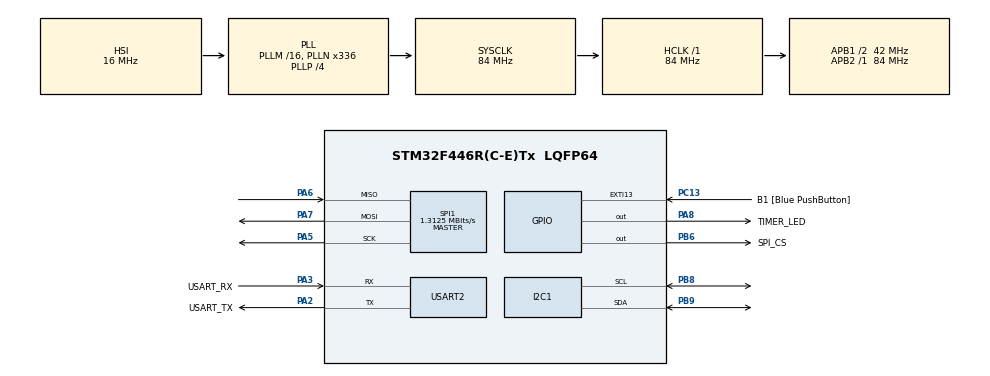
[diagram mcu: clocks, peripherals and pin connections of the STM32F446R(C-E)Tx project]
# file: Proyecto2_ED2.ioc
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Mcu.Family=STM32F4
Mcu.Name=STM32F446R(C-E)Tx
Mcu.Package=LQFP64
NVIC.PriorityGroup=NVIC_PRIORITYGROUP_0
NVIC.TIM3_IRQn=true\:0\:0\:false\:false\:true\:true\:true\:true
NVIC.USART2_IRQn=true\:0\:0\:false\:false\:true\:true\:true\:true
PA13.GPIO_Label=TMS
PA13.Signal=SYS_JTMS-SWDIO
PA14.GPIO_Label=TCK
PA14.Signal=SYS_JTCK-SWCLK
PA2.GPIO_Label=USART_TX
PA2.Mode=Asynchronous
PA2.Signal=USART2_TX
PA3.GPIO_Label=USART_RX
PA3.Mode=Asynchronous
PA3.Signal=USART2_RX
PA5.Mode=Full_Duplex_Master
PA5.Signal=SPI1_SCK
PA6.Mode=Full_Duplex_Master
PA6.Signal=SPI1_MISO
PA7.Mode=Full_Duplex_Master
PA7.Signal=SPI1_MOSI
PA8.GPIO_Label=TIMER_LED
PA8.Signal=GPIO_Output
PB3.GPIO_Label=SWO
PB3.Signal=SYS_JTDO-SWO
PB6.GPIO_Label=SPI_CS
PB6.PinState=GPIO_PIN_SET
PB6.Signal=GPIO_Output
PB8.GPIO_Pu=GPIO_PULLUP
PB8.Mode=I2C
PB8.Signal=I2C1_SCL
PB9.GPIO_Pu=GPIO_PULLUP
PB9.Mode=I2C
PB9.Signal=I2C1_SDA
PC13.GPIO_Label=B1 [Blue PushButton]
PC13.GPIO_ModeDefaultEXTI=GPIO_MODE_IT_FALLING
PC13.Signal=GPXTI13
PC14-OSC32_IN.Signal=RCC_OSC32_IN
PC15-OSC32_OUT.Signal=RCC_OSC32_OUT
PH0-OSC_IN.Signal=RCC_OSC_IN
PH1-OSC_OUT.Signal=RCC_OSC_OUT
ProjectManager.HeapSize=0x200
ProjectManager.StackSize=0x400
ProjectManager.TargetToolchain=STM32CubeIDE
RCC.AHBFreq_Value=84000000
RCC.APB1CLKDivider=RCC_HCLK_DIV2
RCC.APB1Freq_Value=42000000
RCC.APB1TimFreq_Value=84000000
RCC.APB2Freq_Value=84000000
RCC.APB2TimFreq_Value=84000000
RCC.CortexFreq_Value=84000000
RCC.FLatency-AdvancedSettings=FLASH_LATENCY_2
RCC.HCLKFreq_Value=84000000
RCC.HSE_VALUE=8000000
RCC.HSI_VALUE=16000000
RCC.LSE_VALUE=32768
RCC.PLLN=336
RCC.PLLP=RCC_PLLP_DIV4
RCC.SYSCLKFreq_VALUE=84000000
RCC.SYSCLKSource=RCC_SYSCLKSOURCE_PLLCLK
RCC.USBFreq_Value=168000000
RCC.VCOOutputFreq_Value=336000000
SPI1.BaudRatePrescaler=SPI_BAUDRATEPRESCALER_64
SPI1.CalculateBaudRate=1.3125 MBits/s
SPI1.Direction=SPI_DIRECTION_2LINES
SPI1.Mode=SPI_MODE_MASTER
SPI1.VirtualType=VM_MASTER
TIM3.Period=4999
TIM3.Prescaler=8399
USART2.VirtualMode=VM_ASYNC
VP_TIM3_VS_ClockSourceINT.Mode=Internal
board=NUCLEO-F446RE

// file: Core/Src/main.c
/* USER CODE BEGIN Header */
/**
  ******************************************************************************
  * @file           : main.c
  * @brief          : Main program body
  ******************************************************************************
  * @attention
  *
  * Copyright (c) 2026 STMicroelectronics.
  * All rights reserved.
  *
  * This software is licensed under terms that can be found in the LICENSE file
  * in the root directory of this software component.
  * If no LICENSE file comes with this software, it is provided AS-IS.
  *
  ******************************************************************************
  */
/* USER CODE END Header */
#include "main.h"

/* USER CODE BEGIN Includes */
#include <stdio.h>   // Permite utilizar sscanf y snprintf
#include <string.h>  // Permite trabajar con cadenas de texto
/* USER CODE END Includes */

I2C_HandleTypeDef hi2c1;

SPI_HandleTypeDef hspi1;

TIM_HandleTypeDef htim3;

UART_HandleTypeDef huart2;

/* USER CODE BEGIN PV */

// Guarda la opcion seleccionada por el usuario
uint8_t opcionUART;

// Guarda los caracteres recibidos del comando SPI
// Arreglo para guardar hasta 19 caracteres del comando SPI y el ultimo
char comandoSPI[20];

// Guarda el numero del LED seleccionado
int ledSPI;

// Guarda el tiempo de encendido en milisegundos
int tiempoSPI;

// Variable para guardar el valor recibido del ESP32
uint8_t valorPotI2C = 0;

// Direccion del ESP32 en el bus I2C
#define ESP32_I2C_ADDR (0x08 << 1)

// Tiempo que debe permanecer la señal en cada estado
volatile uint32_t tiempoTimer = 500;

// Cuenta los milisegundos transcurridos
volatile uint32_t contadorTimer = 0;

// Indica si la señal cuadrada esta activa
volatile uint8_t timerActivo = 0;

/* USER CODE END PV */

void SystemClock_Config(void);
static void MX_GPIO_Init(void);
static void MX_USART2_UART_Init(void);
static void MX_SPI1_Init(void);
static void MX_I2C1_Init(void);
static void MX_TIM3_Init(void);
/* USER CODE BEGIN PFP */

//DECLARACION DE FUNCIONES

// Funcion para mostrar el menu principal
void mostrarMenu(void);

// Funcion para mostrar el submenu de control SPI
void mostrarMenuSPI(void);

// Funcion para recibir un comando completo por UART
void recibirComandoSPI(void);

// Funcion para enviar el LED y el tiempo al ESP32 por SPI
void enviarComandoSPI(void);

// Funcion para solicitar el valor del potenciometro por I2C
void recibirDatoI2C(void);

// Actualizar el tiempo de la señal cuadrada
void actualizarTimer(uint16_t tiempo);

/* USER CODE END PFP */

int main(void)
{

  /* MCU Configuration--------------------------------------------------------*/

  /* Reset of all peripherals, Initializes the Flash interface and the Systick. */
  HAL_Init();

  /* Configure the system clock */
  SystemClock_Config();

  /* Initialize all configured peripherals */
  MX_GPIO_Init();
  MX_USART2_UART_Init();
  MX_SPI1_Init();
  MX_I2C1_Init();
  MX_TIM3_Init();
  /* USER CODE BEGIN 2 */

  // Mostrar menu al iniciar
  mostrarMenu();

  /* USER CODE END 2 */

  /* Infinite loop */
  /* USER CODE BEGIN WHILE */
  while (1)
  {
      // Recibir un caracter por UART
      HAL_UART_Receive(&huart2,
                       &opcionUART,
                       1,
                       HAL_MAX_DELAY);

      // Ignorar los saltos de linea enviados por el monitor serial
      // para evitar que se interpreten como opciones incorrectas.
      if (opcionUART == '\r' || opcionUART == '\n')
      {
          continue;
      }

      //********************************************/
      // OPCION 1: CONTROL SPI
      //********************************************/

      if (opcionUART == '1')
      {
          // Confirmar la opcion seleccionada
          char mensaje[] = "\r\nOpcion 1 seleccionada: SPI\r\n";

          HAL_UART_Transmit(&huart2,
                            (uint8_t *)mensaje,
                            sizeof(mensaje) - 1,
                            HAL_MAX_DELAY);

          // Mostrar las instrucciones del control SPI
          mostrarMenuSPI();

          // Esperar el comando LED,TIEMPO enviado por el usuario
          recibirComandoSPI();
      }

      else if (opcionUART == '2')
      {
          char mensaje[] = "\r\nOpcion 2 seleccionada: I2C\r\n";

          HAL_UART_Transmit(&huart2,
                            (uint8_t *)mensaje,
                            sizeof(mensaje) - 1,
                            HAL_MAX_DELAY);
          // Solicitar la lectura del potenciometro al ESP32
              recibirDatoI2C();
      }
      else
      {
          char mensaje[] = "\r\nOpcion no valida.\r\n";

          HAL_UART_Transmit(&huart2,
                            (uint8_t *)mensaje,
                            sizeof(mensaje) - 1,
                            HAL_MAX_DELAY);
      }

      // Separar la respuesta del siguiente menu
      char espacio[] = "\r\n\r\n\r\n";

      HAL_UART_Transmit(&huart2,
                        (uint8_t *)espacio,
                        sizeof(espacio) - 1,
                        HAL_MAX_DELAY);

      // Volver a mostrar el menu principal
      mostrarMenu();

    /* USER CODE END WHILE */

  }
}

void SystemClock_Config(void)
{
  RCC_OscInitTypeDef RCC_OscInitStruct = {0};
  RCC_ClkInitTypeDef RCC_ClkInitStruct = {0};

  /** Configure the main internal regulator output voltage
  */
  __HAL_RCC_PWR_CLK_ENABLE();
  __HAL_PWR_VOLTAGESCALING_CONFIG(PWR_REGULATOR_VOLTAGE_SCALE3);

  /** Initializes the RCC Oscillators according to the specified parameters
  * in the RCC_OscInitTypeDef structure.
  */
  RCC_OscInitStruct.OscillatorType = RCC_OSCILLATORTYPE_HSI;
  RCC_OscInitStruct.HSIState = RCC_HSI_ON;
  RCC_OscInitStruct.HSICalibrationValue = RCC_HSICALIBRATION_DEFAULT;
  RCC_OscInitStruct.PLL.PLLState = RCC_PLL_ON;
  RCC_OscInitStruct.PLL.PLLSource = RCC_PLLSOURCE_HSI;
  RCC_OscInitStruct.PLL.PLLM = 16;
  RCC_OscInitStruct.PLL.PLLN = 336;
  RCC_OscInitStruct.PLL.PLLP = RCC_PLLP_DIV4;
  RCC_OscInitStruct.PLL.PLLQ = 2;
  RCC_OscInitStruct.PLL.PLLR = 2;
  if (HAL_RCC_OscConfig(&RCC_OscInitStruct) != HAL_OK)
  {
    Error_Handler();
  }

  /** Initializes the CPU, AHB and APB buses clocks
  */
  RCC_ClkInitStruct.ClockType = RCC_CLOCKTYPE_HCLK|RCC_CLOCKTYPE_SYSCLK
                              |RCC_CLOCKTYPE_PCLK1|RCC_CLOCKTYPE_PCLK2;
  RCC_ClkInitStruct.SYSCLKSource = RCC_SYSCLKSOURCE_PLLCLK;
  RCC_ClkInitStruct.AHBCLKDivider = RCC_SYSCLK_DIV1;
  RCC_ClkInitStruct.APB1CLKDivider = RCC_HCLK_DIV2;
  RCC_ClkInitStruct.APB2CLKDivider = RCC_HCLK_DIV1;

  if (HAL_RCC_ClockConfig(&RCC_ClkInitStruct, FLASH_LATENCY_2) != HAL_OK)
  {
    Error_Handler();
  }
}

static void MX_I2C1_Init(void)
{

  hi2c1.Instance = I2C1;
  hi2c1.Init.ClockSpeed = 100000;
  hi2c1.Init.DutyCycle = I2C_DUTYCYCLE_2;
  hi2c1.Init.OwnAddress1 = 0;
  hi2c1.Init.AddressingMode = I2C_ADDRESSINGMODE_7BIT;
  hi2c1.Init.DualAddressMode = I2C_DUALADDRESS_DISABLE;
  hi2c1.Init.OwnAddress2 = 0;
  hi2c1.Init.GeneralCallMode = I2C_GENERALCALL_DISABLE;
  hi2c1.Init.NoStretchMode = I2C_NOSTRETCH_DISABLE;
  if (HAL_I2C_Init(&hi2c1) != HAL_OK)
  {
    Error_Handler();
  }

}

static void MX_SPI1_Init(void)
{

  /* SPI1 parameter configuration*/
  hspi1.Instance = SPI1;
  hspi1.Init.Mode = SPI_MODE_MASTER;
  hspi1.Init.Direction = SPI_DIRECTION_2LINES;
  hspi1.Init.DataSize = SPI_DATASIZE_8BIT;
  hspi1.Init.CLKPolarity = SPI_POLARITY_LOW;
  hspi1.Init.CLKPhase = SPI_PHASE_1EDGE;
  hspi1.Init.NSS = SPI_NSS_SOFT;
  hspi1.Init.BaudRatePrescaler = SPI_BAUDRATEPRESCALER_64;
  hspi1.Init.FirstBit = SPI_FIRSTBIT_MSB;
  hspi1.Init.TIMode = SPI_TIMODE_DISABLE;
  hspi1.Init.CRCCalculation = SPI_CRCCALCULATION_DISABLE;
  hspi1.Init.CRCPolynomial = 10;
  if (HAL_SPI_Init(&hspi1) != HAL_OK)
  {
    Error_Handler();
  }

}

static void MX_TIM3_Init(void)
{

  TIM_ClockConfigTypeDef sClockSourceConfig = {0};
  TIM_MasterConfigTypeDef sMasterConfig = {0};

  htim3.Instance = TIM3;
  htim3.Init.Prescaler = 8399;
  htim3.Init.CounterMode = TIM_COUNTERMODE_UP;
  htim3.Init.Period = 9;
  htim3.Init.ClockDivision = TIM_CLOCKDIVISION_DIV1;
  htim3.Init.AutoReloadPreload = TIM_AUTORELOAD_PRELOAD_DISABLE;
  if (HAL_TIM_Base_Init(&htim3) != HAL_OK)
  {
    Error_Handler();
  }
  sClockSourceConfig.ClockSource = TIM_CLOCKSOURCE_INTERNAL;
  if (HAL_TIM_ConfigClockSource(&htim3, &sClockSourceConfig) != HAL_OK)
  {
    Error_Handler();
  }
  sMasterConfig.MasterOutputTrigger = TIM_TRGO_RESET;
  sMasterConfig.MasterSlaveMode = TIM_MASTERSLAVEMODE_DISABLE;
  if (HAL_TIMEx_MasterConfigSynchronization(&htim3, &sMasterConfig) != HAL_OK)
  {
    Error_Handler();
  }

}

static void MX_USART2_UART_Init(void)
{

  huart2.Instance = USART2;
  huart2.Init.BaudRate = 115200;
  huart2.Init.WordLength = UART_WORDLENGTH_8B;
  huart2.Init.StopBits = UART_STOPBITS_1;
  huart2.Init.Parity = UART_PARITY_NONE;
  huart2.Init.Mode = UART_MODE_TX_RX;
  huart2.Init.HwFlowCtl = UART_HWCONTROL_NONE;
  huart2.Init.OverSampling = UART_OVERSAMPLING_16;
  if (HAL_UART_Init(&huart2) != HAL_OK)
  {
    Error_Handler();
  }

}

static void MX_GPIO_Init(void)
{
  GPIO_InitTypeDef GPIO_InitStruct = {0};

  /* GPIO Ports Clock Enable */
  __HAL_RCC_GPIOC_CLK_ENABLE();
  __HAL_RCC_GPIOH_CLK_ENABLE();
  __HAL_RCC_GPIOA_CLK_ENABLE();
  __HAL_RCC_GPIOB_CLK_ENABLE();

  /*Configure GPIO pin Output Level */
  HAL_GPIO_WritePin(TIMER_LED_GPIO_Port, TIMER_LED_Pin, GPIO_PIN_RESET);

  /*Configure GPIO pin Output Level */
  HAL_GPIO_WritePin(SPI_CS_GPIO_Port, SPI_CS_Pin, GPIO_PIN_SET);

  /*Configure GPIO pin : B1_Pin */
  GPIO_InitStruct.Pin = B1_Pin;
  GPIO_InitStruct.Mode = GPIO_MODE_IT_FALLING;
  GPIO_InitStruct.Pull = GPIO_NOPULL;
  HAL_GPIO_Init(B1_GPIO_Port, &GPIO_InitStruct);

  /*Configure GPIO pin : TIMER_LED_Pin */
  GPIO_InitStruct.Pin = TIMER_LED_Pin;
  GPIO_InitStruct.Mode = GPIO_MODE_OUTPUT_PP;
  GPIO_InitStruct.Pull = GPIO_NOPULL;
  GPIO_InitStruct.Speed = GPIO_SPEED_FREQ_LOW;
  HAL_GPIO_Init(TIMER_LED_GPIO_Port, &GPIO_InitStruct);

  /*Configure GPIO pin : SPI_CS_Pin */
  GPIO_InitStruct.Pin = SPI_CS_Pin;
  GPIO_InitStruct.Mode = GPIO_MODE_OUTPUT_PP;
  GPIO_InitStruct.Pull = GPIO_NOPULL;
  GPIO_InitStruct.Speed = GPIO_SPEED_FREQ_LOW;
  HAL_GPIO_Init(SPI_CS_GPIO_Port, &GPIO_InitStruct);

}

/* USER CODE BEGIN 4 */

// Mostrar menu principal por UART
void mostrarMenu(void)
{
    char mensaje[] =
        "\r\n"
        "==============================\r\n"
        "       MENU PRINCIPAL\r\n"
        "==============================\r\n"
        "1. Controlar dispositivo SPI\r\n"
        "2. Obtener medicion de sensor I2C\r\n"
        "\r\n"
        "Seleccione una opcion: ";

    HAL_UART_Transmit(&huart2,
                      (uint8_t *)mensaje,
                      sizeof(mensaje) - 1,
                      HAL_MAX_DELAY);
}

// Mostrar submenu SPI
void mostrarMenuSPI(void)
{
    // Mensaje que se mostrara en el monitor serial
    char mensaje[] =
        "\r\n"
        "==============================\r\n"
        "         CONTROL SPI\r\n"
        "==============================\r\n"
        "Ingrese el LED y tiempo en ms.\r\n"
        "Formato: LED,TIEMPO\r\n"
        "Ejemplo: 1,500\r\n"
        "\r\n"
        "Comando: ";

    // Enviar el submenu a la computadora por UART
    HAL_UART_Transmit(&huart2,
                      (uint8_t *)mensaje,
                      sizeof(mensaje) - 1,
                      HAL_MAX_DELAY);
}
    //********************************************/
    // RECEPCION DEL COMANDO SPI ---------------
    //********************************************/

    // Recibe el comando LED,TIEMPO por UART
    // Separa el numero del LED y su tiempo.

    void recibirComandoSPI(void)
    {
        uint8_t dato;
        uint8_t indice = 0;

        // Recibir caracteres hasta que el usuario presione ENTER
        while (1)
        {
            HAL_UART_Receive(&huart2, &dato, 1, HAL_MAX_DELAY);

            // Ignorar ENTER si todavia no se ha recibido ningun caracter
            if ((dato == '\r' || dato == '\n') && indice == 0)
            {
                continue;
            }

            // Terminar la recepcion cuando se presione ENTER
            if (dato == '\r' || dato == '\n')
            {
                break;
            }

            // Guardar los caracteres sin superar el espacio disponible
            if (indice < sizeof(comandoSPI) - 1)
            {
                comandoSPI[indice] = dato;
                indice++;
            }
        }

        // Agregar el caracter que indica el final del texto
        comandoSPI[indice] = '\0';

        // Separar el LED y el tiempo recibidos
        char extra;
        int datos = sscanf(comandoSPI, "%d,%d %c",
                           &ledSPI, &tiempoSPI, &extra);

        // Verificar que el comando tenga el formato correcto
        if (datos == 2 &&
            ledSPI >= 1 && ledSPI <= 3 &&
            tiempoSPI > 0 && tiempoSPI <= 65535)
        {
            char respuesta[100];

            // Mostrar los valores que recibio la Nucleo
            snprintf(respuesta, sizeof(respuesta),
                     "\r\nLED seleccionado: %d\r\n"
                     "Tiempo: %d ms\r\n",
                     ledSPI, tiempoSPI);

            HAL_UART_Transmit(&huart2,
                              (uint8_t *)respuesta,
                              strlen(respuesta),
                              HAL_MAX_DELAY);

            // Enviar el LED y el tiempo al ESP32 mediante SPI - SOLO SI ES VALIDO
            enviarComandoSPI();

            // Actualizar la señal cuadrada usando el tiempo recibido
            actualizarTimer((uint16_t)tiempoSPI);
        }
        else
        {
            // Avisar cuando el comando no sea valido
            char error[] = "\r\nComando no valido. Ejemplo: 1,500\r\n";

            HAL_UART_Transmit(&huart2,
                              (uint8_t *)error,
                              sizeof(error) - 1,
                              HAL_MAX_DELAY);

        }
    }

        //********************************************/
        // ENVIO DE DATOS POR SPI
        //********************************************/

        // Funcion para enviar el numero del LED y el tiempo
        //  Nucleo hacia el ESP32
        void enviarComandoSPI(void)
        {
            // 3 bytes para guardar los datos a transmitir
            uint8_t datosSPI[3];

            // Primer byte: numero del LED seleccionado
            datosSPI[0] = (uint8_t)ledSPI;

            // Segundo byte: parte alta del tiempo
            datosSPI[1] = (uint8_t)(tiempoSPI >> 8);

            // Tercer byte: parte baja del tiempo
            datosSPI[2] = (uint8_t)(tiempoSPI & 0xFF);

            // Colocar CS en LOW para seleccionar al ESP32
            HAL_GPIO_WritePin(SPI_CS_GPIO_Port, SPI_CS_Pin, GPIO_PIN_RESET);

            // Enviar los 3 bytes por SPI1
            HAL_StatusTypeDef estado = HAL_SPI_Transmit(
                &hspi1,
                datosSPI,
                3,
                1000
            );

            // Colocar CS en HIGH para finalizar la comunicacion
            HAL_GPIO_WritePin(SPI_CS_GPIO_Port, SPI_CS_Pin, GPIO_PIN_SET);

            // Comprobar si la transmision se completo correctamente
            if (estado == HAL_OK)
            {
                char mensaje[] = "\r\nTransmision SPI completada.\r\n";

                HAL_UART_Transmit(&huart2,
                                  (uint8_t *)mensaje,
                                  sizeof(mensaje) - 1,
                                  HAL_MAX_DELAY);
            }
            else
            {
                // Informar si ocurrio un error durante la transmision
                char mensaje[] = "\r\nError en la transmision SPI.\r\n";

                HAL_UART_Transmit(&huart2,
                                  (uint8_t *)mensaje,
                                  sizeof(mensaje) - 1,
                                  HAL_MAX_DELAY);
            }
        }
            //******************************************/
            // RECIBIR DATO POR I2C
            //******************************************/

            void recibirDatoI2C(void)
            {
                // Solicitar un byte al ESP32 por I2C
                HAL_StatusTypeDef estado = HAL_I2C_Master_Receive( //hace que la Nucleo solicite un byte al ESP32
                    &hi2c1,
                    ESP32_I2C_ADDR,
                    &valorPotI2C, //indica dónde guardar el dato recibido.
                    1, //1 byte
                    100 //tiempo máximo de espera, en milisegundos.
                );

                // Verificar si la comunicacion fue correcta
                if (estado == HAL_OK)
                {
                    // Mostrar el valor recibido por UART
                    char mensaje[50];

                    sprintf(mensaje, "\r\nPotenciometro: %u\r\n", valorPotI2C);

                    HAL_UART_Transmit(&huart2,
                                      (uint8_t *)mensaje,
                                      strlen(mensaje),
                                      HAL_MAX_DELAY);
                }
                else
                {
                    // Mostrar mensaje si falla la comunicacion
                    char mensaje[] = "\r\nError de comunicacion I2C\r\n";

                    HAL_UART_Transmit(&huart2,
                                      (uint8_t *)mensaje,
                                      strlen(mensaje),
                                      HAL_MAX_DELAY);
                }

            }

                // Actualizar el tiempo de la señal cuadrada
                void actualizarTimer(uint16_t tiempo)
                {
                    // Detener TIM3 antes de cambiar el tiempo
                    HAL_TIM_Base_Stop_IT(&htim3);

                    // Guardar el tiempo recibido de Watchport
                    tiempoTimer = tiempo;

                    // Reiniciar el contador
                    contadorTimer = 0;

                    // Comenzar la señal en HIGH
                    HAL_GPIO_WritePin(TIMER_LED_GPIO_Port,
                                      TIMER_LED_Pin,
                                      GPIO_PIN_SET);

                    // Reiniciar el contador interno de TIM3
                    __HAL_TIM_SET_COUNTER(&htim3, 0);

                    // Limpiar interrupciones pendientes
                    __HAL_TIM_CLEAR_FLAG(&htim3, TIM_FLAG_UPDATE);

                    // Activar la señal
                    timerActivo = 1;

                    // Iniciar TIM3 con interrupciones
                    HAL_TIM_Base_Start_IT(&htim3);
                }

                // Interrupcion que ocurre cada 1 ms
                void HAL_TIM_PeriodElapsedCallback(TIM_HandleTypeDef *htim)
                {
                    // Verificar que sea TIM3
                    if (htim->Instance == TIM3)
                    {
                        if (timerActivo == 1)
                        {
                            // Aumentar el contador de milisegundos
                            contadorTimer++;

                            // Verificar si ya paso el tiempo indicado
                            if (contadorTimer >= tiempoTimer)
                            {
                                // Reiniciar el contador
                                contadorTimer = 0;

                                // Cambiar el estado de PA8
                                HAL_GPIO_TogglePin(TIMER_LED_GPIO_Port,
                                                   TIMER_LED_Pin);
                            }
                        }
                    }
                }

/* USER CODE END 4 */

void Error_Handler(void)
{
  __disable_irq();
  while (1)
  {
  }
}
